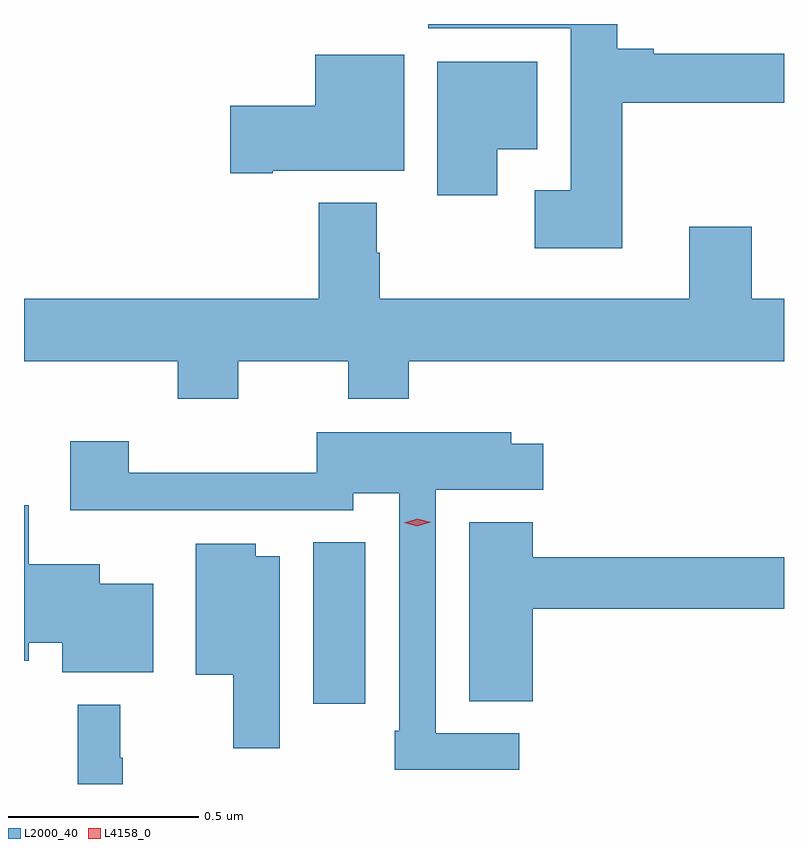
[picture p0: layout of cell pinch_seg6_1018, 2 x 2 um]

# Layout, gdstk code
import gdstk
lib = gdstk.Library(unit=1e-6, precision=1e-09)
def R(c, l, rs):  # rectangles x0, y0, x1, y1
    for r in rs: c.add(gdstk.rectangle(r[:2], r[2:], *l))
def P(c, l, *ps):  # polygons
    for p in ps: c.add(gdstk.Polygon(p, *l))
L2000_40 = (2000, 40)
L4158_0 = (4158, 0)

pinch_seg6_1018 = lib.new_cell('pinch_seg6_1018')
R(pinch_seg6_1018, L2000_40, [(295.886,919.794,296.023,920.219)])
P(pinch_seg6_1018, L2000_40, [(296.699,921.376),(297.125,921.376),(297.125,921.505),(296.782,921.505),(296.782,921.518),(296.686,921.518),(296.686,921.583),(296.189,921.583),(296.189,921.572),(296.564,921.572),(296.564,921.145),(296.469,921.145),(296.469,920.993),(296.699,920.993)],
  [(295.78,921.197),(296.125,921.197),(296.125,921.502),(295.892,921.502),(295.892,921.368),(295.668,921.368),(295.668,921.19),(295.78,921.19)],
  [(296.371,921.254),(296.476,921.254),(296.476,921.484),(296.213,921.484),(296.213,921.132),(296.371,921.132)],
  [(295.689,920.696),(295.978,920.696),(295.978,920.597),(296.138,920.597),(296.138,920.696),(297.125,920.696),(297.125,920.86),(297.04,920.86),(297.04,921.049),(296.876,921.049),(296.876,920.86),(296.061,920.86),(296.061,920.981),(296.053,920.981),(296.053,921.112),(295.901,921.112),(295.901,920.86),(295.125,920.86),(295.125,920.696),(295.529,920.696),(295.529,920.597),(295.689,920.597)],
  [(296.428,919.716),(296.208,919.716),(296.208,920.357),(296.491,920.357),(296.491,920.479),(296.407,920.479),(296.407,920.509),(295.896,920.509),(295.896,920.402),(295.4,920.402),(295.4,920.485),(295.247,920.485),(295.247,920.303),(295.481,920.303),(295.481,920.304),(295.992,920.304),(295.992,920.348),(296.112,920.348),(296.112,919.723),(296.1,919.723),(296.1,919.62),(296.428,919.62)],
  [(295.465,920.11),(295.324,920.11),(295.324,920.161),(295.138,920.161),(295.138,920.317),(295.125,920.317),(295.125,919.907),(295.138,919.907),(295.138,919.955),(295.226,919.955),(295.226,919.877),(295.465,919.877)],
  [(296.464,920.044),(297.125,920.044),(297.125,920.18),(296.464,920.18),(296.464,920.272),(296.297,920.272),(296.297,919.801),(296.464,919.801)],
  [(295.798,920.182),(295.735,920.182),(295.735,920.215),(295.577,920.215),(295.577,919.871),(295.676,919.871),(295.676,919.677),(295.798,919.677)],
  [(295.385,919.652),(295.378,919.652),(295.378,919.792),(295.267,919.792),(295.267,919.583),(295.385,919.583)])
P(pinch_seg6_1018, L4158_0, [(296.16,920.261),(296.125,920.27),(296.125,920.27),(296.125,920.271),(296.16,920.281),(296.195,920.272),(296.195,920.272),(296.195,920.272)])

lib.write_gds('pinch_seg6_1018.gds')
